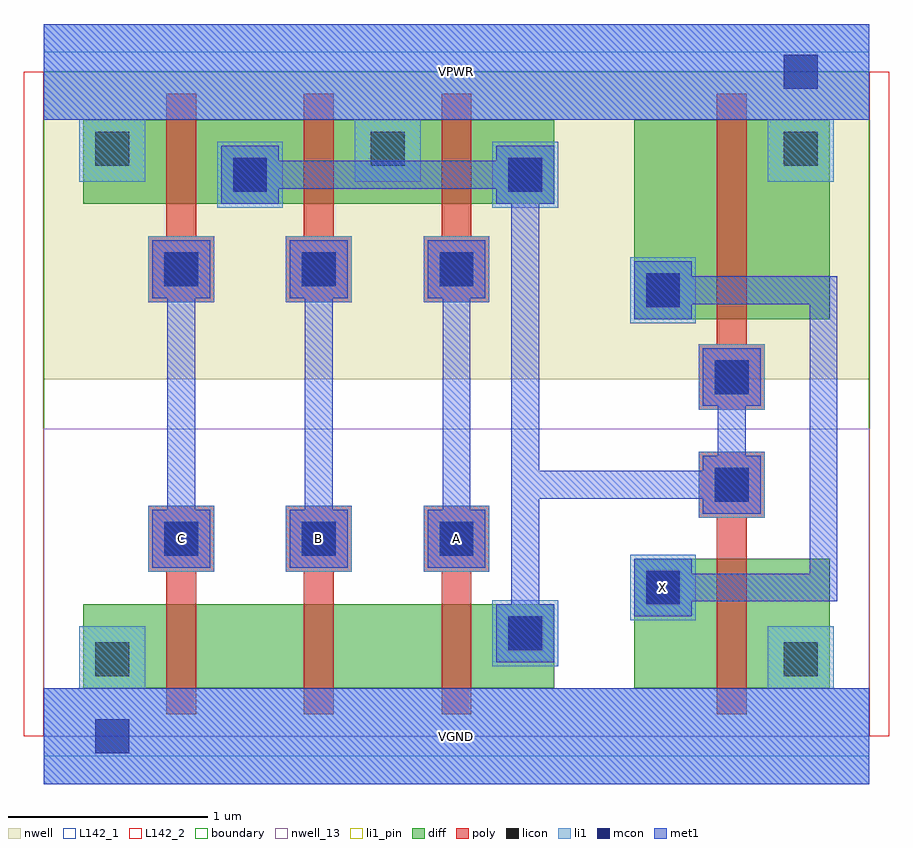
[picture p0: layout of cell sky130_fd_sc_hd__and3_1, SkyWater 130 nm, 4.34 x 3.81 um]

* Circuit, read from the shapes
.subckt sky130_fd_sc_hd__and3_1 A B C VGND VPWR X
XM1 n1 C VGND VSUBS sky130_fd_pr__nfet_01v8 w=0.42 l=0.15
XM2 n2 B n1 VSUBS sky130_fd_pr__nfet_01v8 w=0.42 l=0.15
XM3 n3 A n2 VSUBS sky130_fd_pr__nfet_01v8 w=0.42 l=0.15
XM4 VGND n3 X VSUBS sky130_fd_pr__nfet_01v8 w=0.65 l=0.15
XM5 n3 C VPWR n4 sky130_fd_pr__pfet_01v8 w=0.42 l=0.15
XM6 VPWR B n3 n4 sky130_fd_pr__pfet_01v8 w=0.42 l=0.15
XM7 n3 A VPWR n4 sky130_fd_pr__pfet_01v8 w=0.42 l=0.15
XM8 VPWR n3 X n4 sky130_fd_pr__pfet_01v8 w=1 l=0.15
.ends

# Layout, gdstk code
import gdstk
lib = gdstk.Library(unit=1e-6, precision=1e-09)
def R(c, l, rs):  # rectangles x0, y0, x1, y1
    for r in rs: c.add(gdstk.rectangle(r[:2], r[2:], *l))
def A(c, l, x, y, w, h, nx, ny, dx, dy):  # array of equal rectangles
    R(c, l, [(x+i*dx, y+j*dy, x+i*dx+w, y+j*dy+h) for i in range(nx) for j in range(ny)])
def P(c, l, *ps):  # polygons
    for p in ps: c.add(gdstk.Polygon(p, *l))
nwell_13 = (64, 13)
nwell = (64, 20)
diff = (65, 20)
poly = (66, 20)
licon = (66, 44)
li1_pin = (67, 16)
li1 = (67, 20)
mcon = (67, 44)
met1 = (68, 20)
L142_1 = (142, 1)
L142_2 = (142, 2)
boundary = (235, 4)

sky130_fd_sc_hd__and3_1 = lib.new_cell('sky130_fd_sc_hd__and3_1')
R(sky130_fd_sc_hd__and3_1, nwell_13, [(0,0,4.14,1.54)])
R(sky130_fd_sc_hd__and3_1, nwell, [(0,1.79,4.14,3.33)])
R(sky130_fd_sc_hd__and3_1, diff, [(0.2,0.24,2.56,0.66), (0.2,0.24,0.615,0.66), (0.615,0.24,1.305,0.66), (1.305,0.24,1.995,0.66), (1.995,0.24,2.56,0.66), (2.96,0.24,3.94,0.89), (2.96,0.24,3.375,0.89), (3.375,0.24,3.94,0.89), (2.96,2.09,3.94,3.09), (2.96,2.09,3.375,3.09), (3.375,2.09,3.94,3.09), (0.2,2.67,2.56,3.09), (0.2,2.67,0.615,3.09), (0.615,2.67,1.305,3.09), (1.305,2.67,1.995,3.09), (1.995,2.67,2.56,3.09)])
P(sky130_fd_sc_hd__and3_1, poly, [(1.305,0.11),(1.305,0.825),(1.215,0.825),(1.215,1.155),(1.545,1.155),(1.545,0.825),(1.455,0.825),(1.455,0.11)],
  [(1.215,2.175),(1.215,2.505),(1.305,2.505),(1.305,3.22),(1.455,3.22),(1.455,2.505),(1.545,2.505),(1.545,2.175)],
  [(3.375,0.11),(3.375,1.095),(3.285,1.095),(3.285,1.425),(3.615,1.425),(3.615,1.095),(3.525,1.095),(3.525,0.11)],
  [(3.285,1.635),(3.285,1.965),(3.375,1.965),(3.375,3.22),(3.525,3.22),(3.525,1.965),(3.615,1.965),(3.615,1.635)],
  [(0.615,0.11),(0.615,0.825),(0.525,0.825),(0.525,1.155),(0.855,1.155),(0.855,0.825),(0.765,0.825),(0.765,0.11)],
  [(0.525,2.175),(0.525,2.505),(0.615,2.505),(0.615,3.22),(0.765,3.22),(0.765,2.505),(0.855,2.505),(0.855,2.175)],
  [(1.995,0.11),(1.995,0.825),(1.905,0.825),(1.905,1.155),(2.235,1.155),(2.235,0.825),(2.145,0.825),(2.145,0.11)],
  [(1.905,2.175),(1.905,2.505),(1.995,2.505),(1.995,3.22),(2.145,3.22),(2.145,2.505),(2.235,2.505),(2.235,2.175)])
A(sky130_fd_sc_hd__and3_1, licon, 0.605, 0.905, 0.17, 0.17, 3, 2, 0.69, 1.35)
R(sky130_fd_sc_hd__and3_1, licon, [(0.26,0.3,0.43,0.47), (3.71,0.3,3.88,0.47), (2.33,0.43,2.5,0.6), (3.02,0.66,3.19,0.83), (3.365,1.175,3.535,1.345), (3.365,1.715,3.535,1.885), (3.02,2.15,3.19,2.32), (0.95,2.73,1.12,2.9), (2.33,2.73,2.5,2.9), (0.26,2.86,0.43,3.03), (1.64,2.86,1.81,3.03), (3.71,2.86,3.88,3.03)])
A(sky130_fd_sc_hd__and3_1, li1_pin, 0.525, 0.825, 0.33, 0.33, 3, 1, 0.69, 0)
R(sky130_fd_sc_hd__and3_1, li1_pin, [(0,-0.24,4.14,0.24), (2.94,0.58,3.27,0.91), (0,3.09,4.14,3.57)])
A(sky130_fd_sc_hd__and3_1, li1, 0.525, 0.825, 0.33, 0.33, 3, 2, 0.69, 1.35)
R(sky130_fd_sc_hd__and3_1, li1, [(2.25,0.35,2.58,0.68), (2.94,0.58,3.27,0.91), (3.285,1.095,3.615,1.425), (3.285,1.635,3.615,1.965), (2.94,2.07,3.27,2.4), (0.87,2.65,1.2,2.98), (2.25,2.65,2.58,2.98)])
P(sky130_fd_sc_hd__and3_1, li1, [(0.18,2.78),(0.18,3.09),(0,3.09),(0,3.57),(4.14,3.57),(4.14,3.09),(3.96,3.09),(3.96,2.78),(3.63,2.78),(3.63,3.09),(1.89,3.09),(1.89,2.78),(1.56,2.78),(1.56,3.09),(0.51,3.09),(0.51,2.78)],
  [(0,-0.24),(0,0.24),(0.18,0.24),(0.18,0.55),(0.51,0.55),(0.51,0.24),(3.63,0.24),(3.63,0.55),(3.96,0.55),(3.96,0.24),(4.14,0.24),(4.14,-0.24)])
A(sky130_fd_sc_hd__and3_1, mcon, 0.605, 0.905, 0.17, 0.17, 3, 2, 0.69, 1.35)
R(sky130_fd_sc_hd__and3_1, mcon, [(0.26,-0.085,0.43,0.085), (2.33,0.43,2.5,0.6), (3.02,0.66,3.19,0.83), (3.365,1.175,3.535,1.345), (3.365,1.715,3.535,1.885), (3.02,2.15,3.19,2.32), (0.95,2.73,1.12,2.9), (2.33,2.73,2.5,2.9), (3.71,3.245,3.88,3.415)])
R(sky130_fd_sc_hd__and3_1, met1, [(0,-0.24,4.14,0.24), (0,3.09,4.14,3.57)])
P(sky130_fd_sc_hd__and3_1, met1, [(1.235,0.845),(1.235,1.135),(1.31,1.135),(1.31,2.195),(1.235,2.195),(1.235,2.485),(1.525,2.485),(1.525,2.195),(1.45,2.195),(1.45,1.135),(1.525,1.135),(1.525,0.845)],
  [(2.27,0.37),(2.27,0.66),(2.345,0.66),(2.345,2.67),(2.27,2.67),(2.27,2.745),(1.18,2.745),(1.18,2.67),(0.89,2.67),(0.89,2.96),(1.18,2.96),(1.18,2.885),(2.27,2.885),(2.27,2.96),(2.56,2.96),(2.56,2.67),(2.485,2.67),(2.485,1.33),(3.305,1.33),(3.305,1.405),(3.38,1.405),(3.38,1.655),(3.305,1.655),(3.305,1.945),(3.595,1.945),(3.595,1.655),(3.52,1.655),(3.52,1.405),(3.595,1.405),(3.595,1.115),(3.305,1.115),(3.305,1.19),(2.485,1.19),(2.485,0.66),(2.56,0.66),(2.56,0.37)],
  [(0.545,0.845),(0.545,1.135),(0.62,1.135),(0.62,2.195),(0.545,2.195),(0.545,2.485),(0.835,2.485),(0.835,2.195),(0.76,2.195),(0.76,1.135),(0.835,1.135),(0.835,0.845)],
  [(1.925,0.845),(1.925,1.135),(2,1.135),(2,2.195),(1.925,2.195),(1.925,2.485),(2.215,2.485),(2.215,2.195),(2.14,2.195),(2.14,1.135),(2.215,1.135),(2.215,0.845)],
  [(2.96,0.6),(2.96,0.89),(3.25,0.89),(3.25,0.815),(3.84,0.815),(3.84,2.165),(3.25,2.165),(3.25,2.09),(2.96,2.09),(2.96,2.38),(3.25,2.38),(3.25,2.305),(3.98,2.305),(3.98,0.675),(3.25,0.675),(3.25,0.6)])
R(sky130_fd_sc_hd__and3_1, L142_1, [(0,-0.1,4.14,0), (0,3.33,4.14,3.43)])
R(sky130_fd_sc_hd__and3_1, L142_2, [(-0.1,0,0,3.33), (4.14,0,4.24,3.33)])
R(sky130_fd_sc_hd__and3_1, boundary, [(0,0,4.14,3.33)])
sky130_fd_sc_hd__and3_1.add(gdstk.Label('X', (3.105,0.745), layer=67, texttype=5))
sky130_fd_sc_hd__and3_1.add(gdstk.Label('A', (2.07,0.99), layer=67, texttype=5))
sky130_fd_sc_hd__and3_1.add(gdstk.Label('C', (0.69,0.99), layer=67, texttype=5))
sky130_fd_sc_hd__and3_1.add(gdstk.Label('B', (1.38,0.99), layer=67, texttype=5))
sky130_fd_sc_hd__and3_1.add(gdstk.Label('VGND', (2.07,0), layer=67, texttype=5))
sky130_fd_sc_hd__and3_1.add(gdstk.Label('VPWR', (2.07,3.33), layer=67, texttype=5))
sky130_fd_sc_hd__and3_1.add(gdstk.Label('VGND', (2.07,0), layer=68, texttype=5))
sky130_fd_sc_hd__and3_1.add(gdstk.Label('VPWR', (2.07,3.33), layer=68, texttype=5))

lib.write_gds('sky130_fd_sc_hd__and3_1.gds')
